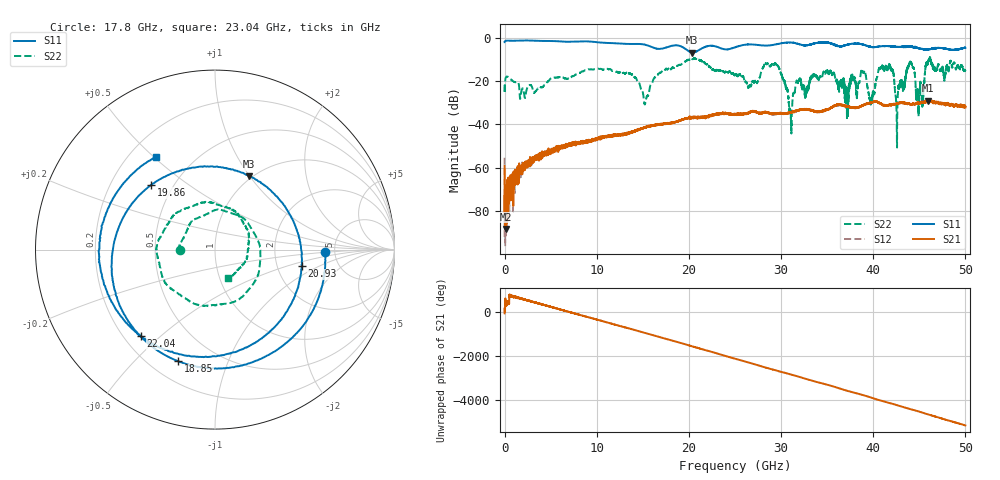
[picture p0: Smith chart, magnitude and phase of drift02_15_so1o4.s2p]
!Created with skrf (http://scikit-rf.org).
# Hz S RI R 50.0
!freq ReS11 ImS11 ReS21 ImS21 ReS12 ImS12 ReS22 ImS22
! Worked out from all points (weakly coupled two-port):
!   10001 points, 300 kHz to 50 GHz, reference 50 ohm
!   highest |S21| = -29.04 dB at 45.97 GHz (marker M1); lowest = -88.1 dB at 135.3 MHz (marker M2)
!   lowest |S11| = -6.9 dB at 20.36 GHz (marker M3), VSWR 2.64, Z = 48.5 + j49.6 ohm
!   |S11| at or under -10 dB: nowhere
!   |S22| runs from -50.7 to -9.1 dB; largest |S21 - S12| = 0.0032
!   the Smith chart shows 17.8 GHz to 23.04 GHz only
!   S11 on the Smith chart (normalised r, x): 17.8 GHz: 4.17, -0.17; 18.85 GHz: 0.31, -0.68; 19.86 GHz: 0.38, +0.37; 20.93 GHz: 2.75, -0.68; 22.04 GHz: 0.27, -0.43; 23.04 GHz: 0.31, +0.51
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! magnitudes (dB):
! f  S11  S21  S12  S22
! 300 kHz  -2.1  -59.1  -55.4  -21.8
! 135.3 MHz  -1.5  -88.1  -91.3  -18.3
! 8.335 GHz  -1.7  -48.2  -48.7  -15.8
! 15.31 GHz  -3.4  -41.2  -41.2  -29.3
! 16.67 GHz  -5.2  -40.2  -40.1  -16.9
! 17.8 GHz  -4.2  -39.3  -39.4  -14.2
! 18.85 GHz  -3.7  -38.4  -38.6  -12.7
! 19.86 GHz  -5.9  -37.1  -37.1  -10.3
! 20.36 GHz  -6.9  -37.0  -37.0  -9.9
! 20.93 GHz  -6.1  -36.7  -36.6  -9.7
! 22.04 GHz  -3.9  -36.0  -36.4  -12.6
! 23.04 GHz  -4.2  -35.5  -35.4  -15.1
! 25 GHz  -4.5  -35.4  -35.4  -17.5
! 29.5 GHz  -3.1  -35.0  -35.2  -12.6
! 31.03 GHz  -2.3  -34.5  -34.8  -35.7
! 33.34 GHz  -3.1  -33.6  -33.6  -17.9
! 39.73 GHz  -4.3  -30.0  -30.0  -30.9
! 41.67 GHz  -4.0  -31.0  -31.0  -13.5
! 42.57 GHz  -4.3  -30.5  -30.2  -46.0
! 45.15 GHz  -5.1  -30.2  -29.8  -22.3
! 45.97 GHz  -5.4  -29.0  -29.5  -10.7
! 50 GHz  -4.7  -32.1  -31.9  -15.5
